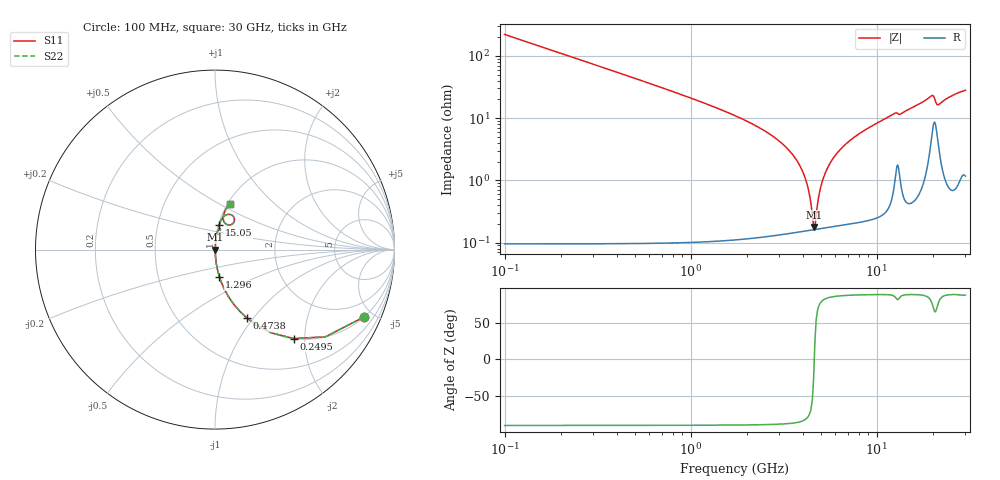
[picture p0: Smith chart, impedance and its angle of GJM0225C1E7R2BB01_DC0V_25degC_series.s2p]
!Murata Part Number: GJM0225C1E7R2BB01
!These Parameters are Measured in Series Mode Connection
!  o--ll--o
!Port1  Port2
!  o------o
!Operation Temp=25[degC], DC Bias Voltage=0[V]
!Freq. Start=100[MHz] Stop=30[GHz], 401[Steps]
!Data Generated on Feb 1, 2023
# Hz S RI R 50
!Freq.(Hz) S11(Real) S11(Imag) S21(Real) S21(Imag) S12(Real) S12(Imag) S22(Real) S22(Imag)
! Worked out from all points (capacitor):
!   401 points, 100 MHz to 30 GHz, reference 50 ohm
!   read as one part in series: C = 7.2 pF near 249.5 MHz
!   lowest |Z| = 177 mohm at 4.585 GHz (marker M1)
!   series resonance near 4.622 GHz, so ESL is about 160 pH
!   S11 on the Smith chart (normalised r, x): 100 MHz: 1.00, -4.42; 249.5 MHz: 1.00, -1.77; 473.8 MHz: 1.00, -0.92; 1.296 GHz: 1.00, -0.31; 15.05 GHz: 1.01, +0.28; 30 GHz: 1.02, +0.56
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1e8  0.8299 -0.3755  0.1701 0.3755  0.1701 0.3755  0.8299 -0.3755
2.495e8  0.4384 -0.4956  0.5616 0.4956  0.5616 0.4956  0.4384 -0.4956
4.7375e8  0.1762 -0.3799  0.8238 0.3799  0.8238 0.3799  0.1762 -0.3799
7.7275e8  0.0725 -0.2576  0.9275 0.2576  0.9275 0.2576  0.0725 -0.2576
1.296e9  0.025 -0.153  0.975 0.153  0.975 0.153  0.025 -0.153
3.01525e9  0.00308 -0.0418  0.9969 0.0418  0.9969 0.0418  0.00308 -0.0418
3.688e9  0.00192 -0.0216  0.9981 0.0216  0.9981 0.0216  0.00192 -0.0216
4.1365e9  0.00164 -0.0106  0.9984 0.0106  0.9984 0.0106  0.00164 -0.0106
4.585e9  0.0016 -0.000751  0.9984 0.000751  0.9984 0.000751  0.0016 -0.000751
4.7345e9  0.00163 0.0023  0.9984 -0.0023  0.9984 -0.0023  0.00163 0.0023
4.95875e9  0.00171 0.0067  0.9983 -0.0067  0.9983 -0.0067  0.00171 0.0067
5.10825e9  0.00178 0.00954  0.9982 -0.00954  0.9982 -0.00954  0.00178 0.00954
5.70625e9  0.00219 0.0202  0.9978 -0.0202  0.9978 -0.0202  0.00219 0.0202
6.678e9  0.0032 0.0358  0.9968 -0.0358  0.9968 -0.0358  0.0032 0.0358
8.09825e9  0.00528 0.0562  0.9947 -0.0562  0.9947 -0.0562  0.00528 0.0562
1.01165e10  0.00945 0.0829  0.9906 -0.0829  0.9906 -0.0829  0.00945 0.0829
1.25085e10  0.0228 0.1154  0.9772 -0.1154  0.9772 -0.1154  0.0228 0.1154
1.505e10  0.0234 0.137  0.9766 -0.137  0.9766 -0.137  0.0234 0.137
2.005825e10  0.1025 0.1843  0.8975 -0.1843  0.8975 -0.1843  0.1025 0.1843
2.125425e10  0.0656 0.1402  0.9344 -0.1402  0.9344 -0.1402  0.0656 0.1402
2.50665e10  0.0539 0.2108  0.9461 -0.2108  0.9461 -0.2108  0.0539 0.2108
3e10  0.0816 0.2537  0.9184 -0.2537  0.9184 -0.2537  0.0816 0.2537
